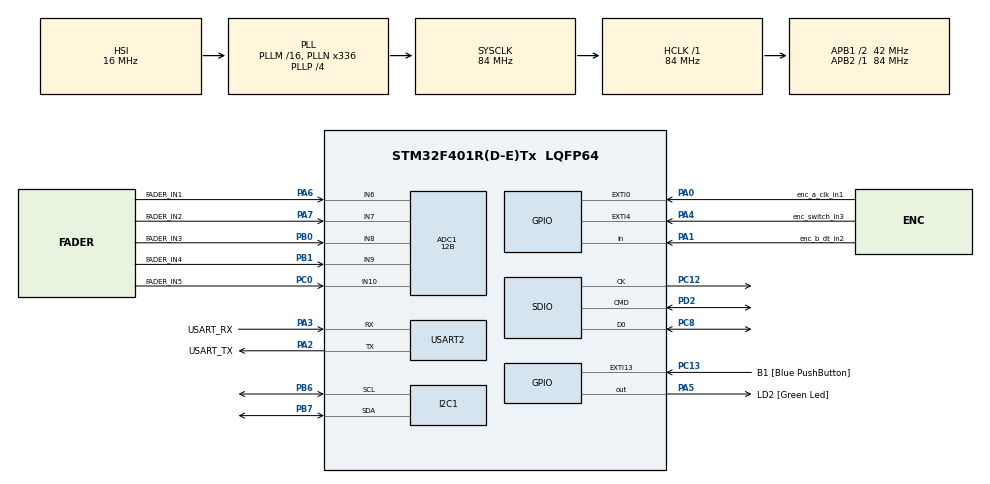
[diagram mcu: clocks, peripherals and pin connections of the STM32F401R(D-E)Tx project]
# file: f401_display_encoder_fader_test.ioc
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ADC1.Channel-0\#ChannelRegularConversion=ADC_CHANNEL_6
ADC1.Channel-1\#ChannelRegularConversion=ADC_CHANNEL_7
ADC1.Channel-2\#ChannelInjectedConversion=ADC_CHANNEL_6
ADC1.Channel-5\#ChannelRegularConversion=ADC_CHANNEL_8
ADC1.Channel-6\#ChannelRegularConversion=ADC_CHANNEL_9
ADC1.Channel-7\#ChannelRegularConversion=ADC_CHANNEL_10
ADC1.ContinuousConvMode=ENABLE
ADC1.DMAContinuousRequests=ENABLE
ADC1.DiscontinuousConvMode=DISABLE
ADC1.EOCSelection=ADC_EOC_SINGLE_CONV
ADC1.InjNumberOfConversion=1
ADC1.InjectedOffset-2\#ChannelInjectedConversion=0
ADC1.InjectedRank-2\#ChannelInjectedConversion=1
ADC1.NbrOfConversion=5
ADC1.NbrOfConversionFlag=1
ADC1.Rank-0\#ChannelRegularConversion=1
ADC1.Rank-1\#ChannelRegularConversion=2
ADC1.Rank-5\#ChannelRegularConversion=3
ADC1.Rank-6\#ChannelRegularConversion=4
ADC1.Rank-7\#ChannelRegularConversion=5
ADC1.Resolution=ADC_RESOLUTION_12B
ADC1.SamplingTime-0\#ChannelRegularConversion=ADC_SAMPLETIME_3CYCLES
ADC1.SamplingTime-1\#ChannelRegularConversion=ADC_SAMPLETIME_3CYCLES
ADC1.SamplingTime-2\#ChannelInjectedConversion=ADC_SAMPLETIME_3CYCLES
ADC1.SamplingTime-5\#ChannelRegularConversion=ADC_SAMPLETIME_3CYCLES
ADC1.SamplingTime-6\#ChannelRegularConversion=ADC_SAMPLETIME_3CYCLES
ADC1.SamplingTime-7\#ChannelRegularConversion=ADC_SAMPLETIME_3CYCLES
ADC1.master=1
Dma.ADC1.0.Direction=DMA_PERIPH_TO_MEMORY
Dma.ADC1.0.FIFOMode=DMA_FIFOMODE_DISABLE
Dma.ADC1.0.Instance=DMA2_Stream0
Dma.ADC1.0.MemDataAlignment=DMA_MDATAALIGN_WORD
Dma.ADC1.0.MemInc=DMA_MINC_ENABLE
Dma.ADC1.0.Mode=DMA_CIRCULAR
Dma.ADC1.0.PeriphDataAlignment=DMA_PDATAALIGN_WORD
Dma.ADC1.0.PeriphInc=DMA_PINC_DISABLE
Dma.ADC1.0.Priority=DMA_PRIORITY_LOW
Dma.Request0=ADC1
Dma.Request1=SDIO_RX
Dma.Request2=SDIO_TX
Dma.SDIO_RX.1.Direction=DMA_PERIPH_TO_MEMORY
Dma.SDIO_RX.1.FIFOMode=DMA_FIFOMODE_ENABLE
Dma.SDIO_RX.1.FIFOThreshold=DMA_FIFO_THRESHOLD_FULL
Dma.SDIO_RX.1.Instance=DMA2_Stream3
Dma.SDIO_RX.1.MemBurst=DMA_MBURST_INC4
Dma.SDIO_RX.1.MemDataAlignment=DMA_MDATAALIGN_WORD
Dma.SDIO_RX.1.MemInc=DMA_MINC_ENABLE
Dma.SDIO_RX.1.Mode=DMA_PFCTRL
Dma.SDIO_RX.1.PeriphBurst=DMA_PBURST_INC4
Dma.SDIO_RX.1.PeriphDataAlignment=DMA_PDATAALIGN_WORD
Dma.SDIO_RX.1.PeriphInc=DMA_PINC_DISABLE
Dma.SDIO_RX.1.Priority=DMA_PRIORITY_LOW
Dma.SDIO_TX.2.Direction=DMA_MEMORY_TO_PERIPH
Dma.SDIO_TX.2.FIFOMode=DMA_FIFOMODE_ENABLE
Dma.SDIO_TX.2.FIFOThreshold=DMA_FIFO_THRESHOLD_FULL
Dma.SDIO_TX.2.Instance=DMA2_Stream6
Dma.SDIO_TX.2.MemBurst=DMA_MBURST_INC4
Dma.SDIO_TX.2.MemDataAlignment=DMA_MDATAALIGN_WORD
Dma.SDIO_TX.2.MemInc=DMA_MINC_ENABLE
Dma.SDIO_TX.2.Mode=DMA_PFCTRL
Dma.SDIO_TX.2.PeriphBurst=DMA_PBURST_INC4
Dma.SDIO_TX.2.PeriphDataAlignment=DMA_PDATAALIGN_WORD
Dma.SDIO_TX.2.PeriphInc=DMA_PINC_DISABLE
Dma.SDIO_TX.2.Priority=DMA_PRIORITY_LOW
FATFS._MAX_SS=4096
FATFS._USE_LFN=1
Mcu.Family=STM32F4
Mcu.Name=STM32F401R(D-E)Tx
Mcu.Package=LQFP64
NVIC.ADC_IRQn=true\:0\:0\:false\:false\:true\:true\:true\:true
NVIC.DMA2_Stream0_IRQn=true\:0\:0\:false\:false\:true\:false\:true\:true
NVIC.DMA2_Stream3_IRQn=true\:0\:0\:false\:false\:true\:false\:true\:true
NVIC.DMA2_Stream6_IRQn=true\:0\:0\:false\:false\:true\:false\:true\:true
NVIC.EXTI0_IRQn=true\:0\:0\:false\:false\:true\:true\:true\:true
NVIC.EXTI15_10_IRQn=true\:0\:0\:false\:false\:true\:true\:true\:true
NVIC.EXTI4_IRQn=true\:0\:0\:false\:false\:true\:true\:true\:true
NVIC.FPU_IRQn=true\:0\:0\:false\:false\:true\:true\:false\:true
NVIC.PriorityGroup=NVIC_PRIORITYGROUP_0
NVIC.SDIO_IRQn=true\:0\:0\:false\:false\:true\:true\:true\:true
NVIC.TIM3_IRQn=true\:0\:0\:false\:false\:true\:true\:true\:true
NVIC.TIM5_IRQn=true\:0\:0\:false\:false\:true\:true\:true\:true
NVIC.USART2_IRQn=true\:0\:0\:false\:false\:true\:true\:true\:true
PA0-WKUP.GPIO_Label=enc_a_clk_in1
PA0-WKUP.GPIO_PuPd=GPIO_PULLUP
PA0-WKUP.Signal=GPXTI0
PA1.GPIO_Label=enc_b_dt_in2
PA1.GPIO_PuPd=GPIO_PULLUP
PA1.Signal=GPIO_Input
PA13.GPIO_Label=TMS
PA13.Mode=Serial_Wire
PA13.Signal=SYS_JTMS-SWDIO
PA14.GPIO_Label=TCK
PA14.Mode=Serial_Wire
PA14.Signal=SYS_JTCK-SWCLK
PA2.GPIO_Label=USART_TX
PA2.GPIO_Mode=GPIO_MODE_AF_PP
PA2.GPIO_PuPd=GPIO_NOPULL
PA2.GPIO_Speed=GPIO_SPEED_FREQ_LOW
PA2.Mode=Asynchronous
PA2.Signal=USART2_TX
PA3.GPIO_Label=USART_RX
PA3.GPIO_Mode=GPIO_MODE_AF_PP
PA3.GPIO_PuPd=GPIO_NOPULL
PA3.GPIO_Speed=GPIO_SPEED_FREQ_LOW
PA3.Mode=Asynchronous
PA3.Signal=USART2_RX
PA4.GPIO_Label=enc_switch_in3
PA4.GPIO_PuPd=GPIO_PULLUP
PA4.Signal=GPXTI4
PA5.GPIO_Label=LD2 [Green Led]
PA5.GPIO_Mode=GPIO_MODE_OUTPUT_PP
PA5.GPIO_PuPd=GPIO_NOPULL
PA5.GPIO_Speed=GPIO_SPEED_FREQ_LOW
PA5.Signal=GPIO_Output
PA6.GPIO_Label=FADER_IN1
PA6.Signal=ADCx_IN6
PA7.GPIO_Label=FADER_IN2
PA7.Signal=ADCx_IN7
PB0.GPIO_Label=FADER_IN3
PB0.Signal=ADCx_IN8
PB1.GPIO_Label=FADER_IN4
PB1.Signal=ADCx_IN9
PB3.GPIO_Label=SWO
PB3.Signal=SYS_JTDO-SWO
PB6.GPIO_Pu=GPIO_PULLUP
PB6.Mode=I2C
PB6.Signal=I2C1_SCL
PB7.GPIO_Pu=GPIO_PULLUP
PB7.Mode=I2C
PB7.Signal=I2C1_SDA
PC0.GPIO_Label=FADER_IN5
PC0.Signal=ADCx_IN10
PC10.Signal=SDIO_D2
PC11.Signal=SDIO_D3
PC12.Mode=SD_1_bit
PC12.Signal=SDIO_CK
PC13-ANTI_TAMP.GPIO_Label=B1 [Blue PushButton]
PC13-ANTI_TAMP.GPIO_ModeDefaultEXTI=GPIO_MODE_IT_FALLING
PC13-ANTI_TAMP.GPIO_PuPd=GPIO_NOPULL
PC13-ANTI_TAMP.Signal=GPXTI13
PC14-OSC32_IN.Mode=LSE-External-Oscillator
PC14-OSC32_IN.Signal=RCC_OSC32_IN
PC15-OSC32_OUT.Mode=LSE-External-Oscillator
PC15-OSC32_OUT.Signal=RCC_OSC32_OUT
PC8.GPIO_PuPd=GPIO_PULLUP
PC8.Mode=SD_1_bit
PC8.Signal=SDIO_D0
PC9.Signal=SDIO_D1
PD2.GPIO_PuPd=GPIO_PULLUP
PD2.Mode=SD_1_bit
PD2.Signal=SDIO_CMD
PH0\ -\ OSC_IN.Mode=HSE-External-Clock-Source
PH0\ -\ OSC_IN.Signal=RCC_OSC_IN
PH1\ -\ OSC_OUT.Mode=HSE-External-Clock-Source
PH1\ -\ OSC_OUT.Signal=RCC_OSC_OUT
ProjectManager.HeapSize=0x200
ProjectManager.StackSize=0x400
ProjectManager.TargetToolchain=STM32CubeIDE
RCC.48MHZClocksFreq_Value=48000000
RCC.AHBFreq_Value=84000000
RCC.APB1CLKDivider=RCC_HCLK_DIV2
RCC.APB1Freq_Value=42000000
RCC.APB1TimFreq_Value=84000000
RCC.APB2Freq_Value=84000000
RCC.APB2TimFreq_Value=84000000
RCC.CortexFreq_Value=84000000
RCC.HCLKFreq_Value=84000000
RCC.HSE_VALUE=8000000
RCC.HSI_VALUE=16000000
RCC.PLLN=336
RCC.PLLP=RCC_PLLP_DIV4
RCC.PLLQ=7
RCC.SYSCLKFreq_VALUE=84000000
RCC.SYSCLKSource=RCC_SYSCLKSOURCE_PLLCLK
RCC.VCOOutputFreq_Value=336000000
SH.ADCx_IN10.0=ADC1_IN10,IN10
SH.ADCx_IN6.0=ADC1_IN6,IN6
SH.ADCx_IN7.0=ADC1_IN7,IN7
SH.ADCx_IN8.0=ADC1_IN8,IN8
SH.ADCx_IN9.0=ADC1_IN9,IN9
TIM3.Period=2500
TIM3.Prescaler=1680
TIM5.Period=8400
TIM5.Prescaler=100
USART2.VirtualMode=VM_ASYNC
VP_FATFS_VS_SDIO.Mode=SDIO
VP_TIM3_VS_ClockSourceINT.Mode=Internal
VP_TIM3_VS_OPM.Mode=OPM_bit
VP_TIM5_VS_ClockSourceINT.Mode=Internal
VP_TIM5_VS_OPM.Mode=OPM_bit
board=NUCLEO-F401RE

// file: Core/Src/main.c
/* USER CODE BEGIN Header */
/**
  ******************************************************************************
  * @file           : main.c
  * @brief          : Main program body
  ******************************************************************************
  * @attention
  *
  * Copyright (c) 2024 STMicroelectronics.
  * All rights reserved.
  *
  * This software is licensed under terms that can be found in the LICENSE file
  * in the root directory of this software component.
  * If no LICENSE file comes with this software, it is provided AS-IS.
  *
  ******************************************************************************
  */
/* USER CODE END Header */
#include "main.h"
#include "fatfs.h"

/* USER CODE BEGIN Includes */
#include <stdlib.h>
#include <stdbool.h>
#include "ssd1306.h"
#include "fonts.h"
#include "display.h"
#include "filemanager.h"
#include "interface.h"
#include "util.h"
/* USER CODE END Includes */

ADC_HandleTypeDef hadc1;
DMA_HandleTypeDef hdma_adc1;

I2C_HandleTypeDef hi2c1;

SD_HandleTypeDef hsd;
DMA_HandleTypeDef hdma_sdio_rx;
DMA_HandleTypeDef hdma_sdio_tx;

TIM_HandleTypeDef htim3;
TIM_HandleTypeDef htim5;

UART_HandleTypeDef huart2;

/* USER CODE BEGIN PV */
/**
 * @brief FileManager instances for managing and testing files.
 *
 * These variables are used to manage files, including the main FileManager and a copy for testing purposes.
 */
FileManager fm;            ///< Main FileManager instance.
FileManager fmCopy;        ///< Copy of FileManager for testing purposes.

/**
 * @brief Buffer for the filename string.
 *
 * This buffer stores filenames with a maximum length defined by MAX_FILENAME_LENGTH.
 */
char lfn[MAX_FILENAME_LENGTH];   ///< Buffer for storing a filename string.

/**
 * @brief FATFS file system objects and handles.
 *
 * These variables are used for managing file operations and directory access with the FATFS library.
 */
FILINFO fno;          ///< FileInfo handle for displaying filenames.
FATFS FatFs;          ///< FATFS handle for the file system.
FIL file;             ///< File object for FATFS.
UINT bytesWritten;    ///< Number of bytes written in file operations.
FRESULT fres;         ///< Result of FATFS operations.
DIR dir;              ///< Directory handle for directory operations.

/**
 * @brief List of filenames on the SD card with .wav extension.
 *
 * This array stores the filenames of all .wav files found on the SD card.
 */
char fileNamesSDCard[MAX_FILES][MAX_FILENAME_LENGTH];   ///< Array of filenames on the SD card with .wav extension.
int fileCount = 0;    ///< Counter for the number of .wav files found on the SD card.

/**
 * @brief Flags for managing time intervals and DMA operations.
 *
 * These flags are used to manage the intervals at which DMA operations and display updates occur.
 */
bool adcDmaFlag = false;        ///< Flag to manage the time interval for ADC DMA operations.
bool updateScreenFlag = false;  ///< Flag to manage the time interval for display updates.

/**
 * @brief Buffer for ADC polling.
 *
 * This buffer stores the values read from the ADC channels.
 */
uint32_t adcBuffer[NUM_CHANNELS] = {0};   ///< Buffer for storing ADC channel values.

/* USER CODE END PV */

void SystemClock_Config(void);
static void MX_GPIO_Init(void);
static void MX_DMA_Init(void);
static void MX_USART2_UART_Init(void);
static void MX_I2C1_Init(void);
static void MX_TIM5_Init(void);
static void MX_ADC1_Init(void);
static void MX_TIM3_Init(void);
static void MX_SDIO_SD_Init(void);
/* USER CODE BEGIN PFP */
void writeStringToFile(const char *filename, const char *str);
/* USER CODE END PFP */

int main(void)
{

  /* MCU Configuration--------------------------------------------------------*/

  /* Reset of all peripherals, Initializes the Flash interface and the Systick. */
  HAL_Init();

  /* Configure the system clock */
  SystemClock_Config();

  /* Initialize all configured peripherals */
  MX_GPIO_Init();
  MX_DMA_Init();
  MX_USART2_UART_Init();
  MX_I2C1_Init();
  MX_TIM5_Init();
  MX_ADC1_Init();
  MX_TIM3_Init();
  MX_SDIO_SD_Init();
  MX_FATFS_Init();
  /* USER CODE BEGIN 2 */
  //Start DMA for Read Faders
  HAL_ADC_Start_DMA(&hadc1, adcBuffer, NUM_CHANNELS);

  //Open the file system
  fres = f_mount(&FatFs, SDPath, 1); //1=mount now
  if (fres != FR_OK) {
      //uart_printf("f_mount error (%i)\r\n", fres);
      while(1);
  }
  //creatFileManagerFile();

  //Get all File Names from SD
  listFiles("/");
  /* TESTING OF WRITE OPERATIONS ON THE SD
  //writeStringToFile("/test.txt", "hallo hallo");
  // Close the file system
  /*fres = f_mount(NULL, "", 0);
  if (fres != FR_OK) {
      //uart_printf("f_mount error (%i)\r\n", fres);
      while(1);
  }*/
  // Init lcd with the Filename from SD Card
  screenInit(fileNamesSDCard);

  __HAL_TIM_CLEAR_FLAG(&htim3, TIM_FLAG_UPDATE);
  HAL_TIM_Base_Start_IT(&htim3);
  // uint32_t num_samples = 2000;
  // int16_t samples[num_samples];
  // generateWaveform(samples, num_samples);
  // drawWaveform(&hi2c1,samples, num_samples);
  /* USER CODE END 2 */

  /* Infinite loop */
  /* USER CODE BEGIN WHILE */
  while (1)
  {
	if(updateScreenFlag){
		compareADCValues();
		updateScreenFlag = false;

		if(sortFilesFlag == true){
		sortFiles();
		setCursor(&fm);
		sortFilesFlag = false;
		}
		updateScreen();
		//writeFileManagerOnSD();
		//readFileManagerFromSD();
		if(adcDmaFlag){
	    HAL_ADC_Start_DMA(&hadc1, adcBuffer, NUM_CHANNELS);
	    adcDmaFlag = false;
		}
	}
    /* USER CODE END WHILE */

  }
}

void SystemClock_Config(void)
{
  RCC_OscInitTypeDef RCC_OscInitStruct = {0};
  RCC_ClkInitTypeDef RCC_ClkInitStruct = {0};

  /** Configure the main internal regulator output voltage
  */
  __HAL_RCC_PWR_CLK_ENABLE();
  __HAL_PWR_VOLTAGESCALING_CONFIG(PWR_REGULATOR_VOLTAGE_SCALE2);

  /** Initializes the RCC Oscillators according to the specified parameters
  * in the RCC_OscInitTypeDef structure.
  */
  RCC_OscInitStruct.OscillatorType = RCC_OSCILLATORTYPE_HSI;
  RCC_OscInitStruct.HSIState = RCC_HSI_ON;
  RCC_OscInitStruct.HSICalibrationValue = RCC_HSICALIBRATION_DEFAULT;
  RCC_OscInitStruct.PLL.PLLState = RCC_PLL_ON;
  RCC_OscInitStruct.PLL.PLLSource = RCC_PLLSOURCE_HSI;
  RCC_OscInitStruct.PLL.PLLM = 16;
  RCC_OscInitStruct.PLL.PLLN = 336;
  RCC_OscInitStruct.PLL.PLLP = RCC_PLLP_DIV4;
  RCC_OscInitStruct.PLL.PLLQ = 7;
  if (HAL_RCC_OscConfig(&RCC_OscInitStruct) != HAL_OK)
  {
    Error_Handler();
  }

  /** Initializes the CPU, AHB and APB buses clocks
  */
  RCC_ClkInitStruct.ClockType = RCC_CLOCKTYPE_HCLK|RCC_CLOCKTYPE_SYSCLK
                              |RCC_CLOCKTYPE_PCLK1|RCC_CLOCKTYPE_PCLK2;
  RCC_ClkInitStruct.SYSCLKSource = RCC_SYSCLKSOURCE_PLLCLK;
  RCC_ClkInitStruct.AHBCLKDivider = RCC_SYSCLK_DIV1;
  RCC_ClkInitStruct.APB1CLKDivider = RCC_HCLK_DIV2;
  RCC_ClkInitStruct.APB2CLKDivider = RCC_HCLK_DIV1;

  if (HAL_RCC_ClockConfig(&RCC_ClkInitStruct, FLASH_LATENCY_2) != HAL_OK)
  {
    Error_Handler();
  }
}

static void MX_ADC1_Init(void)
{

  ADC_ChannelConfTypeDef sConfig = {0};
  ADC_InjectionConfTypeDef sConfigInjected = {0};

  /** Configure the global features of the ADC (Clock, Resolution, Data Alignment and number of conversion)
  */
  hadc1.Instance = ADC1;
  hadc1.Init.ClockPrescaler = ADC_CLOCK_SYNC_PCLK_DIV4;
  hadc1.Init.Resolution = ADC_RESOLUTION_12B;
  hadc1.Init.ScanConvMode = ENABLE;
  hadc1.Init.ContinuousConvMode = ENABLE;
  hadc1.Init.DiscontinuousConvMode = DISABLE;
  hadc1.Init.ExternalTrigConvEdge = ADC_EXTERNALTRIGCONVEDGE_NONE;
  hadc1.Init.ExternalTrigConv = ADC_SOFTWARE_START;
  hadc1.Init.DataAlign = ADC_DATAALIGN_RIGHT;
  hadc1.Init.NbrOfConversion = 5;
  hadc1.Init.DMAContinuousRequests = ENABLE;
  hadc1.Init.EOCSelection = ADC_EOC_SINGLE_CONV;
  if (HAL_ADC_Init(&hadc1) != HAL_OK)
  {
    Error_Handler();
  }

  /** Configure for the selected ADC regular channel its corresponding rank in the sequencer and its sample time.
  */
  sConfig.Channel = ADC_CHANNEL_6;
  sConfig.Rank = 1;
  sConfig.SamplingTime = ADC_SAMPLETIME_3CYCLES;
  if (HAL_ADC_ConfigChannel(&hadc1, &sConfig) != HAL_OK)
  {
    Error_Handler();
  }

  /** Configure for the selected ADC regular channel its corresponding rank in the sequencer and its sample time.
  */
  sConfig.Channel = ADC_CHANNEL_7;
  sConfig.Rank = 2;
  if (HAL_ADC_ConfigChannel(&hadc1, &sConfig) != HAL_OK)
  {
    Error_Handler();
  }

  /** Configure for the selected ADC regular channel its corresponding rank in the sequencer and its sample time.
  */
  sConfig.Channel = ADC_CHANNEL_8;
  sConfig.Rank = 3;
  if (HAL_ADC_ConfigChannel(&hadc1, &sConfig) != HAL_OK)
  {
    Error_Handler();
  }

  /** Configure for the selected ADC regular channel its corresponding rank in the sequencer and its sample time.
  */
  sConfig.Channel = ADC_CHANNEL_9;
  sConfig.Rank = 4;
  if (HAL_ADC_ConfigChannel(&hadc1, &sConfig) != HAL_OK)
  {
    Error_Handler();
  }

  /** Configure for the selected ADC regular channel its corresponding rank in the sequencer and its sample time.
  */
  sConfig.Channel = ADC_CHANNEL_10;
  sConfig.Rank = 5;
  if (HAL_ADC_ConfigChannel(&hadc1, &sConfig) != HAL_OK)
  {
    Error_Handler();
  }

  /** Configures for the selected ADC injected channel its corresponding rank in the sequencer and its sample time
  */
  sConfigInjected.InjectedChannel = ADC_CHANNEL_6;
  sConfigInjected.InjectedRank = 1;
  sConfigInjected.InjectedNbrOfConversion = 1;
  sConfigInjected.InjectedSamplingTime = ADC_SAMPLETIME_3CYCLES;
  sConfigInjected.ExternalTrigInjecConvEdge = ADC_EXTERNALTRIGINJECCONVEDGE_NONE;
  sConfigInjected.ExternalTrigInjecConv = ADC_INJECTED_SOFTWARE_START;
  sConfigInjected.AutoInjectedConv = DISABLE;
  sConfigInjected.InjectedDiscontinuousConvMode = DISABLE;
  sConfigInjected.InjectedOffset = 0;
  if (HAL_ADCEx_InjectedConfigChannel(&hadc1, &sConfigInjected) != HAL_OK)
  {
    Error_Handler();
  }

}

static void MX_I2C1_Init(void)
{

  hi2c1.Instance = I2C1;
  hi2c1.Init.ClockSpeed = 100000;
  hi2c1.Init.DutyCycle = I2C_DUTYCYCLE_2;
  hi2c1.Init.OwnAddress1 = 0;
  hi2c1.Init.AddressingMode = I2C_ADDRESSINGMODE_7BIT;
  hi2c1.Init.DualAddressMode = I2C_DUALADDRESS_DISABLE;
  hi2c1.Init.OwnAddress2 = 0;
  hi2c1.Init.GeneralCallMode = I2C_GENERALCALL_DISABLE;
  hi2c1.Init.NoStretchMode = I2C_NOSTRETCH_DISABLE;
  if (HAL_I2C_Init(&hi2c1) != HAL_OK)
  {
    Error_Handler();
  }

}

static void MX_SDIO_SD_Init(void)
{

  hsd.Instance = SDIO;
  hsd.Init.ClockEdge = SDIO_CLOCK_EDGE_RISING;
  hsd.Init.ClockBypass = SDIO_CLOCK_BYPASS_DISABLE;
  hsd.Init.ClockPowerSave = SDIO_CLOCK_POWER_SAVE_DISABLE;
  hsd.Init.BusWide = SDIO_BUS_WIDE_1B;
  hsd.Init.HardwareFlowControl = SDIO_HARDWARE_FLOW_CONTROL_DISABLE;
  hsd.Init.ClockDiv = 0;
  /* USER CODE BEGIN SDIO_Init 2 */
  if (HAL_SD_Init(&hsd) != HAL_OK)
  {
    Error_Handler();
  }
  if (HAL_SD_ConfigWideBusOperation(&hsd, SDIO_BUS_WIDE_4B) != HAL_OK)
  {
    Error_Handler();
  }

  /* USER CODE END SDIO_Init 2 */

}

static void MX_TIM3_Init(void)
{

  TIM_ClockConfigTypeDef sClockSourceConfig = {0};
  TIM_MasterConfigTypeDef sMasterConfig = {0};

  htim3.Instance = TIM3;
  htim3.Init.Prescaler = 1680;
  htim3.Init.CounterMode = TIM_COUNTERMODE_UP;
  htim3.Init.Period = 2500;
  htim3.Init.ClockDivision = TIM_CLOCKDIVISION_DIV1;
  htim3.Init.AutoReloadPreload = TIM_AUTORELOAD_PRELOAD_DISABLE;
  if (HAL_TIM_Base_Init(&htim3) != HAL_OK)
  {
    Error_Handler();
  }
  sClockSourceConfig.ClockSource = TIM_CLOCKSOURCE_INTERNAL;
  if (HAL_TIM_ConfigClockSource(&htim3, &sClockSourceConfig) != HAL_OK)
  {
    Error_Handler();
  }
  if (HAL_TIM_OnePulse_Init(&htim3, TIM_OPMODE_SINGLE) != HAL_OK)
  {
    Error_Handler();
  }
  sMasterConfig.MasterOutputTrigger = TIM_TRGO_RESET;
  sMasterConfig.MasterSlaveMode = TIM_MASTERSLAVEMODE_DISABLE;
  if (HAL_TIMEx_MasterConfigSynchronization(&htim3, &sMasterConfig) != HAL_OK)
  {
    Error_Handler();
  }

}

static void MX_TIM5_Init(void)
{

  TIM_ClockConfigTypeDef sClockSourceConfig = {0};
  TIM_MasterConfigTypeDef sMasterConfig = {0};

  htim5.Instance = TIM5;
  htim5.Init.Prescaler = 100;
  htim5.Init.CounterMode = TIM_COUNTERMODE_UP;
  htim5.Init.Period = 8400;
  htim5.Init.ClockDivision = TIM_CLOCKDIVISION_DIV1;
  htim5.Init.AutoReloadPreload = TIM_AUTORELOAD_PRELOAD_DISABLE;
  if (HAL_TIM_Base_Init(&htim5) != HAL_OK)
  {
    Error_Handler();
  }
  sClockSourceConfig.ClockSource = TIM_CLOCKSOURCE_INTERNAL;
  if (HAL_TIM_ConfigClockSource(&htim5, &sClockSourceConfig) != HAL_OK)
  {
    Error_Handler();
  }
  if (HAL_TIM_OnePulse_Init(&htim5, TIM_OPMODE_SINGLE) != HAL_OK)
  {
    Error_Handler();
  }
  sMasterConfig.MasterOutputTrigger = TIM_TRGO_RESET;
  sMasterConfig.MasterSlaveMode = TIM_MASTERSLAVEMODE_DISABLE;
  if (HAL_TIMEx_MasterConfigSynchronization(&htim5, &sMasterConfig) != HAL_OK)
  {
    Error_Handler();
  }

}

static void MX_USART2_UART_Init(void)
{

  huart2.Instance = USART2;
  huart2.Init.BaudRate = 115200;
  huart2.Init.WordLength = UART_WORDLENGTH_8B;
  huart2.Init.StopBits = UART_STOPBITS_1;
  huart2.Init.Parity = UART_PARITY_NONE;
  huart2.Init.Mode = UART_MODE_TX_RX;
  huart2.Init.HwFlowCtl = UART_HWCONTROL_NONE;
  huart2.Init.OverSampling = UART_OVERSAMPLING_16;
  if (HAL_UART_Init(&huart2) != HAL_OK)
  {
    Error_Handler();
  }

}

static void MX_DMA_Init(void)
{

  /* DMA controller clock enable */
  __HAL_RCC_DMA2_CLK_ENABLE();

  /* DMA interrupt init */
  /* DMA2_Stream0_IRQn interrupt configuration */
  HAL_NVIC_SetPriority(DMA2_Stream0_IRQn, 0, 0);
  HAL_NVIC_EnableIRQ(DMA2_Stream0_IRQn);
  /* DMA2_Stream3_IRQn interrupt configuration */
  HAL_NVIC_SetPriority(DMA2_Stream3_IRQn, 0, 0);
  HAL_NVIC_EnableIRQ(DMA2_Stream3_IRQn);
  /* DMA2_Stream6_IRQn interrupt configuration */
  HAL_NVIC_SetPriority(DMA2_Stream6_IRQn, 0, 0);
  HAL_NVIC_EnableIRQ(DMA2_Stream6_IRQn);

}

static void MX_GPIO_Init(void)
{
  GPIO_InitTypeDef GPIO_InitStruct = {0};

  /* GPIO Ports Clock Enable */
  __HAL_RCC_GPIOC_CLK_ENABLE();
  __HAL_RCC_GPIOH_CLK_ENABLE();
  __HAL_RCC_GPIOA_CLK_ENABLE();
  __HAL_RCC_GPIOB_CLK_ENABLE();
  __HAL_RCC_GPIOD_CLK_ENABLE();

  /*Configure GPIO pin Output Level */
  HAL_GPIO_WritePin(LD2_GPIO_Port, LD2_Pin, GPIO_PIN_RESET);

  /*Configure GPIO pin : B1_Pin */
  GPIO_InitStruct.Pin = B1_Pin;
  GPIO_InitStruct.Mode = GPIO_MODE_IT_FALLING;
  GPIO_InitStruct.Pull = GPIO_NOPULL;
  HAL_GPIO_Init(B1_GPIO_Port, &GPIO_InitStruct);

  /*Configure GPIO pins : enc_a_clk_in1_Pin enc_switch_in3_Pin */
  GPIO_InitStruct.Pin = enc_a_clk_in1_Pin|enc_switch_in3_Pin;
  GPIO_InitStruct.Mode = GPIO_MODE_IT_RISING;
  GPIO_InitStruct.Pull = GPIO_PULLUP;
  HAL_GPIO_Init(GPIOA, &GPIO_InitStruct);

  /*Configure GPIO pin : enc_b_dt_in2_Pin */
  GPIO_InitStruct.Pin = enc_b_dt_in2_Pin;
  GPIO_InitStruct.Mode = GPIO_MODE_INPUT;
  GPIO_InitStruct.Pull = GPIO_PULLUP;
  HAL_GPIO_Init(enc_b_dt_in2_GPIO_Port, &GPIO_InitStruct);

  /*Configure GPIO pin : LD2_Pin */
  GPIO_InitStruct.Pin = LD2_Pin;
  GPIO_InitStruct.Mode = GPIO_MODE_OUTPUT_PP;
  GPIO_InitStruct.Pull = GPIO_NOPULL;
  GPIO_InitStruct.Speed = GPIO_SPEED_FREQ_LOW;
  HAL_GPIO_Init(LD2_GPIO_Port, &GPIO_InitStruct);

  /* EXTI interrupt init*/
  HAL_NVIC_SetPriority(EXTI0_IRQn, 0, 0);
  HAL_NVIC_EnableIRQ(EXTI0_IRQn);

  HAL_NVIC_SetPriority(EXTI4_IRQn, 0, 0);
  HAL_NVIC_EnableIRQ(EXTI4_IRQn);

  HAL_NVIC_SetPriority(EXTI15_10_IRQn, 0, 0);
  HAL_NVIC_EnableIRQ(EXTI15_10_IRQn);

}

/* USER CODE BEGIN 4 */
/**
 * @brief Writes a string to a file on the SD card.
 *
 * This function opens a file for writing and writes a specified string to it. If the file does not exist, it will be created. The function performs the following actions:
 *
 * - Opens the file specified by `filename` in write mode, creating it if it does not already exist.
 * - Writes the provided string to the file.
 * - Checks for errors during the file operations and reports them.
 * - Closes the file after writing is completed.
 *
 * @param[in] filename The name of the file to write to. (Note: This parameter is not used in the current implementation.)
 * @param[in] str The string to be written to the file.
 *
 * @note In the current implementation, the `filename` parameter is not used, and the file name is hardcoded as `"test.txt"`. Modify the file opening mode and filename if you need to use the provided `filename` parameter.
 */
void writeStringToFile(const char *filename, const char *str)
{
	FIL file;        // FatFs File-Objekt
	FRESULT res;     // FatFs Ergebniscode
	UINT bytesWritten; // Anzahl der geschriebenen Bytes

    // Datei im Schreibmodus öffnen oder erstellen
    res = f_open(&file, "test.txt", FA_WRITE | FA_CREATE_ALWAYS);
    if (res != FR_OK)
    {
        printf("Fehler beim Öffnen/Erstellen der Datei %s: %d\n", filename, res);
        return;
    }

    // String in die Datei schreiben
    res = f_write(&file, "Das", 4, &bytesWritten);

 if (res != FR_OK || bytesWritten != strlen(str))
    {
        printf("Fehler beim Schreiben der Daten in die Datei %s\n", filename);
        f_close(&file);
        return;
    }

    // Datei schließen
    f_close(&file);

    printf("String erfolgreich in Datei '%s' geschrieben.\n", filename);
}
/* USER CODE END 4 */

void Error_Handler(void)
{
  __disable_irq();
  while (1)
  {
  }
}
